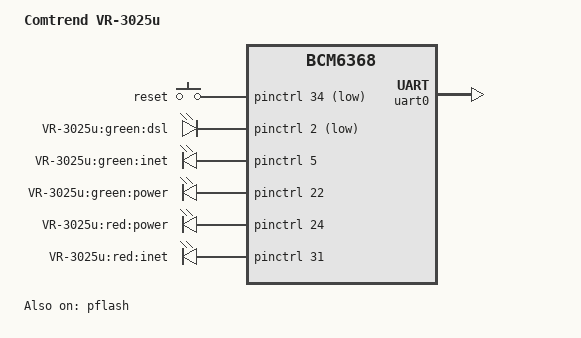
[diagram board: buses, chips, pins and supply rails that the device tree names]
/dts-v1/;

#include "bcm6368.dtsi"

#include <dt-bindings/input/input.h>

/ {
	model = "Comtrend VR-3025u";
	compatible = "comtrend,vr-3025u", "brcm,bcm6368";

	chosen {
		bootargs = "root=/dev/mtdblock2 rootfstype=squashfs,jffs2 noinitrd console=ttyS0,115200";
		stdout-path = "serial0:115200n8";
	};

	gpio-keys-polled {
		compatible = "gpio-keys-polled";
		#address-cells = <1>;
		#size-cells = <0>;
		poll-interval = <20>;
		debounce-interval = <60>;

		reset {
			label = "reset";
			gpios = <&pinctrl 34 1>;
			linux,code = <KEY_RESTART>;
		};
	};

	gpio-leds {
		compatible = "gpio-leds";

		dsl_green {
			label = "VR-3025u:green:dsl";
			gpios = <&pinctrl 2 1>;
		};
		inet_green {
			label = "VR-3025u:green:inet";
			gpios = <&pinctrl 5 0>;
		};
		power_green {
			label = "VR-3025u:green:power";
			gpios = <&pinctrl 22 0>;
			default-state = "on";
		};
		power_red {
			label = "VR-3025u:red:power";
			gpios = <&pinctrl 24 0>;
		};
		inet_red {
			label = "VR-3025u:red:inet";
			gpios = <&pinctrl 31 0>;
		};
	};
};

&pflash {
	status = "ok";

	linux,part-probe = "bcm63xxpart";

	cfe@0 {
		label = "CFE";
		reg = <0x0000000 0x0020000>;
		read-only;
	};

	linux@20000 {
		label = "linux";
		reg = <0x0020000 0x1fc0000>;
	};

	nvram@1fe0000 {
		label = "nvram";
		reg = <0x1fe0000 0x020000>;
	};
};

&pinctrl {
	pinctrl-names = "default";
	pinctrl-0 = <&pinctrl_pci &pinctrl_ephy0_led &pinctrl_ephy1_led
		     &pinctrl_ephy2_led &pinctrl_ephy3_led>;
};

&uart0 {
	status = "ok";
};
